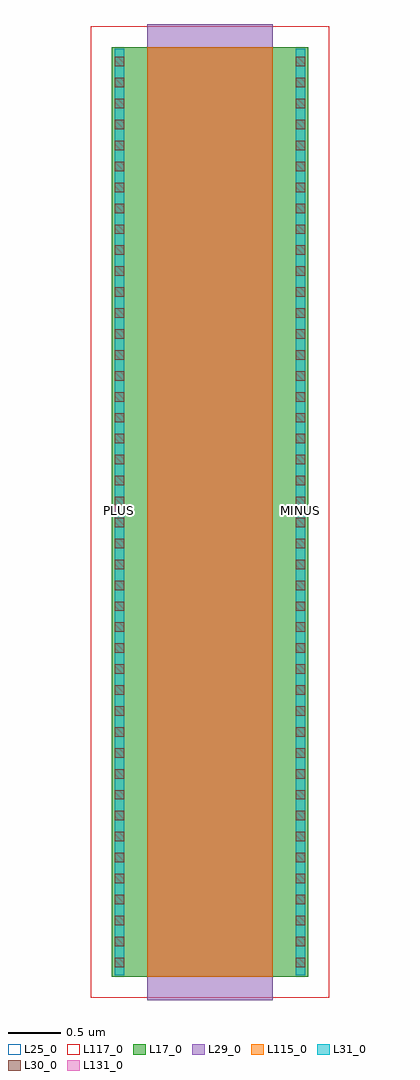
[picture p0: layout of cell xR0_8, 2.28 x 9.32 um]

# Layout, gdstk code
import gdstk
lib = gdstk.Library(unit=1e-6, precision=1e-09)
def R(c, l, rs):  # rectangles x0, y0, x1, y1
    for r in rs: c.add(gdstk.rectangle(r[:2], r[2:], *l))
def A(c, l, x, y, w, h, nx, ny, dx, dy):  # array of equal rectangles
    R(c, l, [(x+i*dx, y+j*dy, x+i*dx+w, y+j*dy+h) for i in range(nx) for j in range(ny)])
L17_0 = (17, 0)
L25_0 = (25, 0)
L29_0 = (29, 0)
L30_0 = (30, 0)
L31_0 = (31, 0)
L115_0 = (115, 0)
L117_0 = (117, 0)
L131_0 = (131, 0)

xr0_8 = lib.new_cell('xR0_8')
R(xr0_8, L17_0, [(0.2,0.22,2.08,9.1)])
R(xr0_8, L25_0, [(0,0.02,2.28,9.3)])
R(xr0_8, L29_0, [(0.54,0,1.74,9.32)])
A(xr0_8, L30_0, 0.23, 0.315, 0.09, 0.09, 1, 44, 0, 0.2)
A(xr0_8, L30_0, 1.96, 0.315, 0.09, 0.09, 1, 44, 0, 0.2)
R(xr0_8, L31_0, [(0.23,0.235,0.32,9.085), (1.96,0.235,2.05,9.085)])
R(xr0_8, L115_0, [(0.54,0.22,1.74,9.1)])
R(xr0_8, L117_0, [(0,0.02,2.28,9.3)])
R(xr0_8, L131_0, [(0.23,4.63,0.32,4.72), (1.96,4.63,2.05,4.72)])
xr0_8.add(gdstk.Label('PLUS', (0.275,4.675), layer=131, texttype=0))
xr0_8.add(gdstk.Label('MINUS', (2.005,4.675), layer=131, texttype=0))

lib.write_gds('xR0_8.gds')
